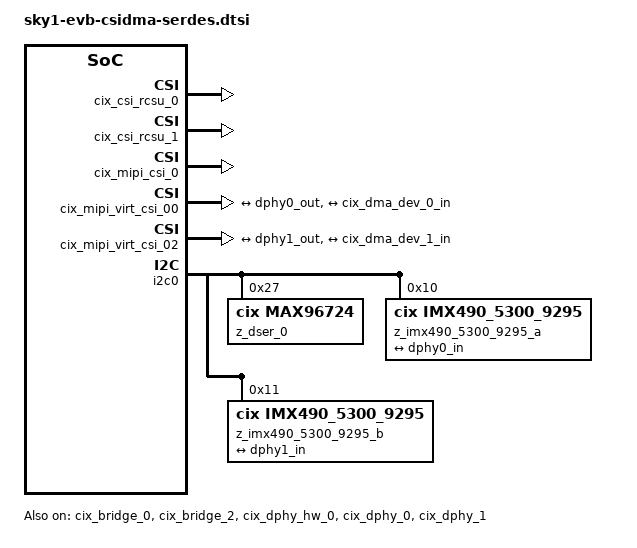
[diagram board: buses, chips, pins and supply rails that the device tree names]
// SPDX-License-Identifier: GPL-2.0
/*
 * Copyright 2024 Cix Technology Group Co., Ltd.
 */
&cix_dma_dev_0 {
	sync = <0>;
	cix,rcsu = <&cix_csi_rcsu_0>;
	cix,hw = <&cix_bridge_0>;
	status = "okay";
	iommus = <&smmu_mmhub 0x21>;
	port {
		cix_dma_dev_0_in: endpoint {
			remote-endpoint = <&mipi_csi2_virt00_out>;
		};
	};
};

&cix_dma_dev_1 {
	sync = <0>;
	cix,rcsu = <&cix_csi_rcsu_1>;
	cix,hw = <&cix_bridge_2>;
	status = "okay";
	iommus = <&smmu_mmhub 0x22>;
	port {
		cix_dma_dev_1_in: endpoint {
			remote-endpoint = <&mipi_csi2_virt02_out>;
		};
	};
};

&cix_csi_rcsu_0 {
	status = "okay";
};

&cix_csi_rcsu_1 {
	status = "okay";
};

&cix_bridge_0 {
	status = "okay";
};

&cix_bridge_2 {
	status = "okay";
};

&cix_mipi_csi_0 {
	lanes = <4>;
	status = "okay";
};

&cix_mipi_virt_csi_00 {
	status = "okay";
	ports {
		#address-cells = <1>;
		#size-cells = <0>;
		port@0 {
			reg = <0>;
			#address-cells = <1>;
			#size-cells = <0>;
			mipi_csi2_virt00_in: endpoint@1 {
				reg = <1>;
				remote-endpoint = <&dphy0_out>;
			};
		};
		port@1 {
			reg = <1>;
			#address-cells = <1>;
			#size-cells = <0>;
			mipi_csi2_virt00_out: endpoint@0 {
				reg = <0>;
				remote-endpoint = <&cix_dma_dev_0_in>;
			};
		};
	};
};

&cix_mipi_virt_csi_02 {
	status = "okay";
	ports {
		#address-cells = <1>;
		#size-cells = <0>;
		port@0 {
			reg = <0>;
			#address-cells = <1>;
			#size-cells = <0>;
			mipi_csi2_virt02_in: endpoint@1 {
				reg = <1>;
				remote-endpoint = <&dphy1_out>;
			};
		};
		port@1 {
			reg = <1>;
			#address-cells = <1>;
			#size-cells = <0>;
			mipi_csi2_virt02_out: endpoint@0 {
				reg = <0>;
				remote-endpoint = <&cix_dma_dev_1_in>;
			};
		};
	};
};

&cix_dphy_hw_0 {
	status = "okay";
};

&cix_dphy_0 {
	status = "okay";
	#address-cells = <1>;
	#size-cells = <0>;
	ports {
		#address-cells = <1>;
		#size-cells = <0>;
		port@0 {
			reg = <0>;
			#address-cells = <1>;
			#size-cells = <0>;
			dphy0_in: endpoint@1 {
				reg = <1>;
				remote-endpoint = <&imx490_5300_9295_a_out>;
				data-lanes = <1 2 3 4>;
				clock-lanes = <0>;
			};
		};

		port@1 {
			reg = <1>;
			#address-cells = <1>;
			#size-cells = <0>;
			dphy0_out: endpoint@0 {
				reg = <0>;
				remote-endpoint = <&mipi_csi2_virt00_in>;
			};
		};
	};
};

&cix_dphy_1 {
	status = "okay";
	#address-cells = <1>;
	#size-cells = <0>;
	ports {
		#address-cells = <1>;
		#size-cells = <0>;
		port@0 {
			reg = <0>;
			#address-cells = <1>;
			#size-cells = <0>;
			dphy1_in: endpoint@1 {
				reg = <1>;
				remote-endpoint = <&imx490_5300_9295_b_out>;
				data-lanes = <1 2 3 4>;
				clock-lanes = <0>;
			};
		};
		port@1 {
			reg = <1>;
			#address-cells = <1>;
			#size-cells = <0>;
			dphy1_out: endpoint@0 {
				reg = <0>;
				remote-endpoint = <&mipi_csi2_virt02_in>;
			};
		};
	};
};

&i2c0 {

	z_dser_0: max96724@27 {
		compatible = "cix,max96724";
		#address-cells = <1>;
		#size-cells = <0>;
		reg = <0x27>;
		/*interrupt-parent = <&gpio0>;*/
		/*interrupts = <RK_PB7 IRQ_TYPE_EDGE_RISING>;*/
		/*pinctrl-names = "default","gpio";*/
		/*pinctrl-0 = <&pinctrl_lt7911_hw>;*/
		/*pinctrl-1 = <&pinctrl_lt7911_hw>;*/
		/*pwdn-gpios = <&fch_gpio0 15 GPIO_ACTIVE_HIGH>;*/
		/*power-gpios = <&fch_gpio1 16 GPIO_ACTIVE_HIGH>;*/
		/*power1-gpios = <&fch_gpio1 18 GPIO_ACTIVE_HIGH>;*/
		/*reset-gpios = <&fch_gpio1 12 GPIO_ACTIVE_HIGH>;*/
		status = "okay";
	};

	z_imx490_5300_9295_a {
		status = "okay";
		def-addr = <0x6d>; /* actual i2c address of imx390 */
		nvidia,gmsl-dser-device = <&z_dser_0>;
		des-link = "A";
		compatible = "cix,imx490_5300_9295";
		reg = <0x10>; /* 9295 will translate to this i2c address */

		physical_w = "15.0";
		physical_h = "12.5";
		sensor_model ="imx490";

		/* enable CID_SENSOR_MODE_ID for sensor modes selection */
		use_sensor_mode_id = "true";

		mode0 {
			mclk_khz = "24000";
			num_lanes = "4";
			tegra_sinterface = "serial_c";
			vc_id = "0";
			discontinuous_clk = "no";
			dpcm_enable = "false";
			cil_settletime = "0";
			dynamic_pixel_bit_depth = "16";
			csi_pixel_bit_depth = "16";
			mode_type = "yuv";
			pixel_phase = "uyvy";

			active_w = "2880";
			active_h = "1860";
			readout_orientation = "0";
			line_length = "4400";
			inherent_gain = "1";
			pix_clk_hz = "165000000";
			serdes_pix_clk_hz = "800000000";

			gain_factor = "10";
			min_gain_val = "0"; /* dB */
			max_gain_val = "420"; /* dB */
			step_gain_val = "3"; /* 0.3 */
			default_gain = "150";
			min_hdr_ratio = "1";
			max_hdr_ratio = "1";
			framerate_factor = "1000000";
			min_framerate = "30000000";
			max_framerate = "30000000";
			step_framerate = "1";
			default_framerate = "30000000";
			exposure_factor = "1000000";
			min_exp_time = "59"; /*us, 2 lines*/
			max_exp_time = "33333";
			step_exp_time = "1";
			default_exp_time = "33333";/* us */
			embedded_metadata_height = "0";
		};

		gmsl-link {
			num-ser-lanes = <4>;
			streams = "yuv16";
		};

		port {
			imx490_5300_9295_a_out: endpoint {
				remote-endpoint = <&dphy0_in>;
				data-lanes = <4>;
				clock-lanes = <0>;
			};
		};
	};

	z_imx490_5300_9295_b {
		status = "okay";
		def-addr = <0x6d>; /* actual i2c address of imx390 */
		nvidia,gmsl-dser-device = <&z_dser_0>;
		des-link = "B";
		compatible = "cix,imx490_5300_9295";
		reg = <0x11>; /* 9295 will translate to this i2c address */

		physical_w = "15.0";
		physical_h = "12.5";
		sensor_model ="imx490";

		/* enable CID_SENSOR_MODE_ID for sensor modes selection */
		use_sensor_mode_id = "true";

		mode0 {
			mclk_khz = "24000";
			num_lanes = "4";
			tegra_sinterface = "serial_c";
			vc_id = "0";
			discontinuous_clk = "no";
			dpcm_enable = "false";
			cil_settletime = "0";
			dynamic_pixel_bit_depth = "16";
			csi_pixel_bit_depth = "16";
			mode_type = "yuv";
			pixel_phase = "uyvy";

			active_w = "2880";
			active_h = "1860";
			readout_orientation = "0";
			line_length = "4400";
			inherent_gain = "1";
			pix_clk_hz = "165000000";
			serdes_pix_clk_hz = "800000000";

			gain_factor = "10";
			min_gain_val = "0"; /* dB */
			max_gain_val = "420"; /* dB */
			step_gain_val = "3"; /* 0.3 */
			default_gain = "150";
			min_hdr_ratio = "1";
			max_hdr_ratio = "1";
			framerate_factor = "1000000";
			min_framerate = "30000000";
			max_framerate = "30000000";
			step_framerate = "1";
			default_framerate = "30000000";
			exposure_factor = "1000000";
			min_exp_time = "59"; /*us, 2 lines*/
			max_exp_time = "33333";
			step_exp_time = "1";
			default_exp_time = "33333";/* us */
			embedded_metadata_height = "0";
		};

		gmsl-link {
			num-ser-lanes = <4>;
			streams = "yuv16";
		};

		port {
			imx490_5300_9295_b_out: endpoint {
				remote-endpoint = <&dphy1_in>;
				data-lanes = <4>;
				clock-lanes = <0>;
			};
		};
	};
};
